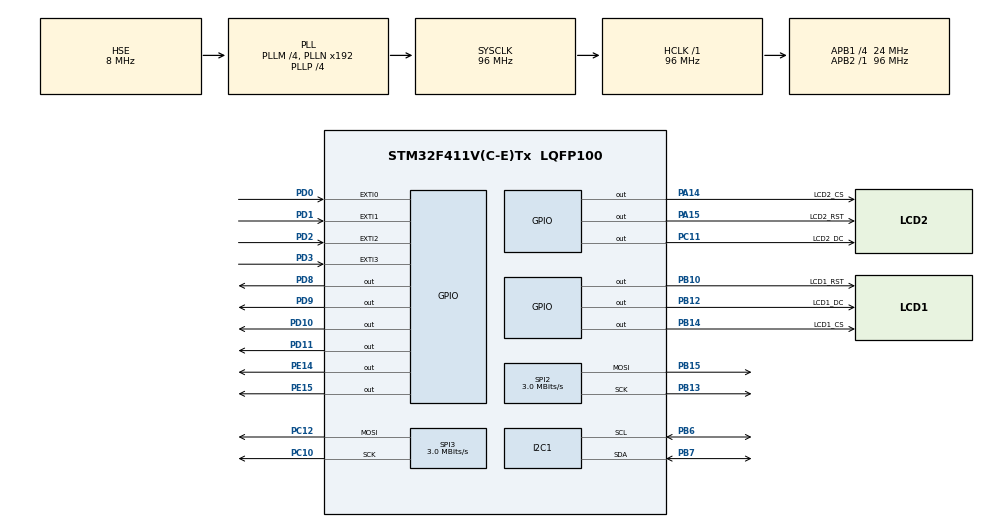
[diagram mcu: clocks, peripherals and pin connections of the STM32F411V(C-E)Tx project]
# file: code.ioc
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Mcu.Family=STM32F4
Mcu.Name=STM32F411V(C-E)Tx
Mcu.Package=LQFP100
NVIC.EXTI0_IRQn=true\:0\:0\:false\:false\:true\:true
NVIC.EXTI1_IRQn=true\:0\:0\:false\:false\:true\:true
NVIC.EXTI2_IRQn=true\:0\:0\:false\:false\:true\:true
NVIC.EXTI3_IRQn=true\:0\:0\:false\:false\:true\:true
NVIC.I2C1_ER_IRQn=true\:0\:0\:false\:false\:true\:true
NVIC.I2C1_EV_IRQn=true\:0\:0\:false\:false\:true\:true
NVIC.PriorityGroup=NVIC_PRIORITYGROUP_0
PA14.GPIO_Label=LCD2_CS
PA14.Signal=GPIO_Output
PA15.GPIO_Label=LCD2_RST
PA15.Signal=GPIO_Output
PB10.GPIO_Label=LCD1_RST
PB10.Signal=GPIO_Output
PB12.GPIO_Label=LCD1_DC
PB12.Signal=GPIO_Output
PB13.Mode=TX_Only_Simplex_Unidirect_Master
PB13.Signal=SPI2_SCK
PB14.GPIO_Label=LCD1_CS
PB14.Signal=GPIO_Output
PB15.Mode=TX_Only_Simplex_Unidirect_Master
PB15.Signal=SPI2_MOSI
PB6.Mode=I2C
PB6.Signal=I2C1_SCL
PB7.Mode=I2C
PB7.Signal=I2C1_SDA
PC10.Mode=TX_Only_Simplex_Unidirect_Master
PC10.Signal=SPI3_SCK
PC11.GPIO_Label=LCD2_DC
PC11.Signal=GPIO_Output
PC12.Mode=TX_Only_Simplex_Unidirect_Master
PC12.Signal=SPI3_MOSI
PD0.GPIO_ModeDefaultEXTI=GPIO_MODE_IT_RISING
PD0.GPIO_PuPd=GPIO_PULLDOWN
PD0.Signal=GPXTI0
PD1.GPIO_ModeDefaultEXTI=GPIO_MODE_IT_RISING
PD1.GPIO_PuPd=GPIO_PULLDOWN
PD1.Signal=GPXTI1
PD10.Signal=GPIO_Output
PD11.Signal=GPIO_Output
PD2.GPIO_ModeDefaultEXTI=GPIO_MODE_IT_RISING
PD2.GPIO_PuPd=GPIO_PULLDOWN
PD2.Signal=GPXTI2
PD3.GPIO_ModeDefaultEXTI=GPIO_MODE_IT_RISING
PD3.GPIO_PuPd=GPIO_PULLDOWN
PD3.Signal=GPXTI3
PD8.Signal=GPIO_Output
PD9.Signal=GPIO_Output
PE14.Signal=GPIO_Output
PE15.Signal=GPIO_Output
PH0\ -\ OSC_IN.Mode=HSE-External-Oscillator
PH0\ -\ OSC_IN.Signal=RCC_OSC_IN
PH1\ -\ OSC_OUT.Mode=HSE-External-Oscillator
PH1\ -\ OSC_OUT.Signal=RCC_OSC_OUT
ProjectManager.HeapSize=0x200
ProjectManager.StackSize=0x400
ProjectManager.TargetToolchain=SW4STM32
RCC.48MHZClocksFreq_Value=48000000
RCC.AHBFreq_Value=96000000
RCC.APB1CLKDivider=RCC_HCLK_DIV4
RCC.APB1Freq_Value=24000000
RCC.APB1TimFreq_Value=48000000
RCC.APB2Freq_Value=96000000
RCC.APB2TimFreq_Value=96000000
RCC.CortexFreq_Value=96000000
RCC.HCLKFreq_Value=96000000
RCC.HSE_VALUE=8000000
RCC.HSI_VALUE=16000000
RCC.LSE_VALUE=32768
RCC.PLLI2SM=5
RCC.PLLI2SN=200
RCC.PLLM=4
RCC.PLLP=RCC_PLLP_DIV4
RCC.PLLQ=8
RCC.PLLSourceVirtual=RCC_PLLSOURCE_HSE
RCC.SYSCLKFreq_VALUE=96000000
RCC.SYSCLKSource=RCC_SYSCLKSOURCE_PLLCLK
RCC.VCOOutputFreq_Value=384000000
SPI2.BaudRatePrescaler=SPI_BAUDRATEPRESCALER_8
SPI2.CalculateBaudRate=3.0 MBits/s
SPI2.Direction=SPI_DIRECTION_2LINES
SPI2.Mode=SPI_MODE_MASTER
SPI2.VirtualType=VM_MASTER
SPI3.BaudRatePrescaler=SPI_BAUDRATEPRESCALER_8
SPI3.CalculateBaudRate=3.0 MBits/s
SPI3.Direction=SPI_DIRECTION_2LINES
SPI3.Mode=SPI_MODE_MASTER
SPI3.VirtualType=VM_MASTER
board=32F411EDISCOVERY

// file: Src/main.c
/* USER CODE BEGIN Header */
/**
  ******************************************************************************
  * @file           : main.c
  * @brief          : Main program body
  ******************************************************************************
  ** This notice applies to any and all portions of this file
  * that are not between comment pairs USER CODE BEGIN and
  * USER CODE END. Other portions of this file, whether
  * inserted by the user or by software development tools
  * are owned by their respective copyright owners.
  *
  * COPYRIGHT(c) 2018 STMicroelectronics
  *
  * Redistribution and use in source and binary forms, with or without modification,
  * are permitted provided that the following conditions are met:
  *   1. Redistributions of source code must retain the above copyright notice,
  *      this list of conditions and the following disclaimer.
  *   2. Redistributions in binary form must reproduce the above copyright notice,
  *      this list of conditions and the following disclaimer in the documentation
  *      and/or other materials provided with the distribution.
  *   3. Neither the name of STMicroelectronics nor the names of its contributors
  *      may be used to endorse or promote products derived from this software
  *      without specific prior written permission.
  *
  * THIS SOFTWARE IS PROVIDED BY THE COPYRIGHT HOLDERS AND CONTRIBUTORS "AS IS"
  * AND ANY EXPRESS OR IMPLIED WARRANTIES, INCLUDING, BUT NOT LIMITED TO, THE
  * IMPLIED WARRANTIES OF MERCHANTABILITY AND FITNESS FOR A PARTICULAR PURPOSE ARE
  * DISCLAIMED. IN NO EVENT SHALL THE COPYRIGHT HOLDER OR CONTRIBUTORS BE LIABLE
  * FOR ANY DIRECT, INDIRECT, INCIDENTAL, SPECIAL, EXEMPLARY, OR CONSEQUENTIAL
  * DAMAGES (INCLUDING, BUT NOT LIMITED TO, PROCUREMENT OF SUBSTITUTE GOODS OR
  * SERVICES; LOSS OF USE, DATA, OR PROFITS; OR BUSINESS INTERRUPTION) HOWEVER
  * CAUSED AND ON ANY THEORY OF LIABILITY, WHETHER IN CONTRACT, STRICT LIABILITY,
  * OR TORT (INCLUDING NEGLIGENCE OR OTHERWISE) ARISING IN ANY WAY OUT OF THE USE
  * OF THIS SOFTWARE, EVEN IF ADVISED OF THE POSSIBILITY OF SUCH DAMAGE.
  *
  ******************************************************************************
  */
/* USER CODE END Header */

#include "main.h"
#include "i2c.h"
#include "spi.h"
#include "gpio.h"

/* USER CODE BEGIN Includes */
#include <stdlib.h>

#include "lcd5110.h"
#include "rtc.h"
#include "keyb.h"
#include "queue.h"
#include "interface.h"
#include "problem.h"
/* USER CODE END Includes */

/* USER CODE BEGIN PV */
// ds3231 buffer
uint8_t aTxBuffer[18];
// time variables (tim == timer)
uint8_t sec, min, hour, day, date, month, year, tim_sec, tim_min;
/*
 * tim, alrm - timer/alarm flags
 * difficulty - problem difficulty
 * hash - number of hashes left to press to get a hint
 * hint - hint flag
 * i - inputt index
 */
uint8_t tim = 0, alrm = 0, i = 0, difficulty = 0, hash = 4, hint = 0;
// array that stores all the input
uint8_t input[7] = {0, 0, 0, 0, 0, 0, 0};
// problems related numbers
int num1, num2, num3, num4, enum1, enum2, unum1, unum2;
// cmenu - current menu
menu cmenu = main_menu;
// keyboard variable
keyboard board;
// display variable
LCD5110_display lcd1, lcd2;

// alarm queue initialization
queue xq = {{}, 0};
queue* q = &xq;
/* USER CODE END PV */

void SystemClock_Config(void);
/* USER CODE BEGIN PFP */
// in case of getting interrupt
void HAL_GPIO_EXTI_Callback(uint16_t GPIO_Pin)
{
	//check what button was pressed
	keyboard_on_input(&board);
}
/* USER CODE END PFP */

int main(void)
{

  /* MCU Configuration--------------------------------------------------------*/

  /* Reset of all peripherals, Initializes the Flash interface and the Systick. */
  HAL_Init();

  /* Configure the system clock */
  SystemClock_Config();

  /* Initialize all configured peripherals */
  MX_GPIO_Init();
  MX_I2C1_Init();
  MX_SPI2_Init();
  MX_SPI3_Init();
  /* USER CODE BEGIN 2 */
  // first lcd5110 display init
  lcd1.hw_conf.spi_handle = &hspi2;
  lcd1.hw_conf.spi_cs_pin =  LCD1_CS_Pin;
  lcd1.hw_conf.spi_cs_port = LCD1_CS_GPIO_Port;
  lcd1.hw_conf.rst_pin =  LCD1_RST_Pin;
  lcd1.hw_conf.rst_port = LCD1_RST_GPIO_Port;
  lcd1.hw_conf.dc_pin =  LCD1_DC_Pin;
  lcd1.hw_conf.dc_port = LCD1_DC_GPIO_Port;
  lcd1.def_scr = lcd5110_def_scr;
  LCD5110_init(&lcd1.hw_conf, LCD5110_NORMAL_MODE, 0x40, 2, 3);

  // second lcd5110 display init
  lcd2.hw_conf.spi_handle = &hspi3;
  lcd2.hw_conf.spi_cs_pin =  LCD2_CS_Pin;
  lcd2.hw_conf.spi_cs_port = LCD2_CS_GPIO_Port;
  lcd2.hw_conf.rst_pin =  LCD2_RST_Pin;
  lcd2.hw_conf.rst_port = LCD2_RST_GPIO_Port;
  lcd2.hw_conf.dc_pin =  LCD2_DC_Pin;
  lcd2.hw_conf.dc_port = LCD2_DC_GPIO_Port;
  lcd2.def_scr = lcd5110_def_scr;
  LCD5110_init(&lcd2.hw_conf, LCD5110_NORMAL_MODE, 0x40, 2, 3);

  // keyboard initialization
  uint16_t output_pins[] = {GPIO_PIN_8, GPIO_PIN_9, GPIO_PIN_10, GPIO_PIN_11};
	uint16_t input_pins[] = {GPIO_PIN_0, GPIO_PIN_1, GPIO_PIN_2, GPIO_PIN_3};
	keyboard new_board = {GPIOD, GPIOD, input_pins, output_pins, *on_number, *on_choice};
	board = new_board;
	keyboard_init(&board);

	// reset system
	reset_alarm();
	reset_timer();

  // turn off buzzer
	HAL_GPIO_WritePin(GPIOE, GPIO_PIN_14, 1);
  // turn on displays
	HAL_GPIO_WritePin(GPIOE, GPIO_PIN_15, 1);
  /* USER CODE END 2 */

  /* Infinite loop */
  /* USER CODE BEGIN WHILE */
  while (1)
  {
    // get aTxBuffer
    get_buffer();

    // turn all BCD numbers into decimal
    sec = toDEC(aTxBuffer[0]);
    min = toDEC(aTxBuffer[1]);
    hour = toDEC(aTxBuffer[2]);
    day = toDEC(aTxBuffer[3]);
    date = toDEC(aTxBuffer[4]);
    month = toDEC(aTxBuffer[5]);
    year = toDEC(aTxBuffer[6]);
    tim_sec = toDEC(aTxBuffer[7]);
    tim_min = toDEC(aTxBuffer[8]);

    //timer activation handler
    on_timer();

    //alarm activation handler
    on_alarm();

    //first display info
    display1();

    //second display info
    display2();

    HAL_Delay(100);

    /* USER CODE END WHILE */

  }
}

void SystemClock_Config(void)
{
  RCC_OscInitTypeDef RCC_OscInitStruct = {0};
  RCC_ClkInitTypeDef RCC_ClkInitStruct = {0};

  /**Configure the main internal regulator output voltage
  */
  __HAL_RCC_PWR_CLK_ENABLE();
  __HAL_PWR_VOLTAGESCALING_CONFIG(PWR_REGULATOR_VOLTAGE_SCALE1);
  /**Initializes the CPU, AHB and APB busses clocks
  */
  RCC_OscInitStruct.OscillatorType = RCC_OSCILLATORTYPE_HSE;
  RCC_OscInitStruct.HSEState = RCC_HSE_ON;
  RCC_OscInitStruct.PLL.PLLState = RCC_PLL_ON;
  RCC_OscInitStruct.PLL.PLLSource = RCC_PLLSOURCE_HSE;
  RCC_OscInitStruct.PLL.PLLM = 4;
  RCC_OscInitStruct.PLL.PLLN = 192;
  RCC_OscInitStruct.PLL.PLLP = RCC_PLLP_DIV4;
  RCC_OscInitStruct.PLL.PLLQ = 8;
  if (HAL_RCC_OscConfig(&RCC_OscInitStruct) != HAL_OK)
  {
    Error_Handler();
  }
  /**Initializes the CPU, AHB and APB busses clocks
  */
  RCC_ClkInitStruct.ClockType = RCC_CLOCKTYPE_HCLK|RCC_CLOCKTYPE_SYSCLK
                              |RCC_CLOCKTYPE_PCLK1|RCC_CLOCKTYPE_PCLK2;
  RCC_ClkInitStruct.SYSCLKSource = RCC_SYSCLKSOURCE_PLLCLK;
  RCC_ClkInitStruct.AHBCLKDivider = RCC_SYSCLK_DIV1;
  RCC_ClkInitStruct.APB1CLKDivider = RCC_HCLK_DIV4;
  RCC_ClkInitStruct.APB2CLKDivider = RCC_HCLK_DIV1;

  if (HAL_RCC_ClockConfig(&RCC_ClkInitStruct, FLASH_LATENCY_3) != HAL_OK)
  {
    Error_Handler();
  }
}

void Error_Handler(void)
{
}

/************************ (C) COPYRIGHT STMicroelectronics *****END OF FILE****/
